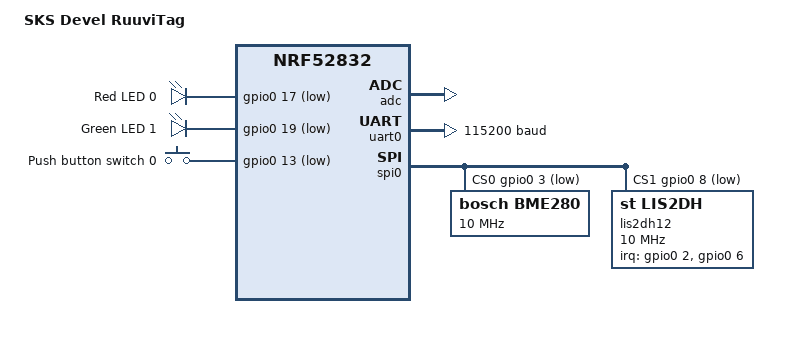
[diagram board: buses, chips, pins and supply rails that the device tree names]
/*
 * Copyright (c) 2020 Ruuvi Innovations Ltd (Oy)
 *
 * SPDX-License-Identifier: Apache-2.0
 */

/dts-v1/;
#include <nordic/nrf52832_qfaa.dtsi>
#include "sks_devel_ruuvitag-pinctrl.dtsi"
#include <zephyr/dt-bindings/input/input-event-codes.h>

/ {
	model = "SKS Devel RuuviTag";
	compatible = "sks_devel_ruuvitag";

	chosen {
		zephyr,console = &rtt0;
		zephyr,shell-uart = &rtt0;
		zephyr,uart-mcumgr = &rtt0;
		zephyr,bt-mon-uart = &rtt0;
		zephyr,bt-c2h-uart = &rtt0;

		zephyr,sram = &sram0;
		zephyr,flash = &flash0;
		zephyr,code-partition = &slot0_partition;
		// zephyr,ieee802154 = &ieee802154;
	};

	rtt0: rtt_chan0 {
		compatible = "segger,rtt-uart";
		status = "okay";
	};

	/* These aliases are provided for compatibility with samples */
	aliases {
		led0 = &led0;
		led1 = &led1;
		sw0 = &button0;
		watchdog0 = &wdt0;
		accel0 = &lis2dh12;
	};

	leds {
		compatible = "gpio-leds";
		led0: led_0 {
			gpios = <&gpio0 17 GPIO_ACTIVE_LOW>;
			label = "Red LED 0";
		};
		led1: led_1 {
			gpios = <&gpio0 19 GPIO_ACTIVE_LOW>;
			label = "Green LED 1";
		};
	};

	buttons {
		compatible = "gpio-keys";
		button0: button_0 {
			gpios = <&gpio0 13 (GPIO_PULL_UP | GPIO_ACTIVE_LOW)>;
			label = "Push button switch 0";
			zephyr,code = <INPUT_KEY_0>;
		};
	};
};

&adc {
	status = "okay";
};

&gpiote {
	status = "okay";
};

&uicr {
	gpio-as-nreset;
};

&gpio0 {
	status = "okay";
};

&uart0 {
	status = "okay";
	compatible = "nordic,nrf-uart";
	current-speed = <115200>;
	pinctrl-0 = <&uart0_default>;
	pinctrl-1 = <&uart0_sleep>;
	pinctrl-names = "default", "sleep";
};

&spi0 {
	compatible = "nordic,nrf-spi";
	status = "okay";
	cs-gpios = <&gpio0 3 GPIO_ACTIVE_LOW>, <&gpio0 8 GPIO_ACTIVE_LOW>;

	pinctrl-0 = <&spi0_default>;
	pinctrl-1 = <&spi0_sleep>;
	pinctrl-names = "default", "sleep";
	bme280@0 {
		compatible = "bosch,bme280";
		reg = <0>;
		spi-max-frequency = <10000000>;
	};

	lis2dh12: lis2dh12@1 {
		compatible = "st,lis2dh", "st,lis2dh12";
		reg = <1>;
		spi-max-frequency = <10000000>;
		irq-gpios =  <&gpio0 2 GPIO_ACTIVE_HIGH>, <&gpio0 6 GPIO_ACTIVE_HIGH>;
	};
};

// Include flash partition table.
#include "fstab.dtsi"
